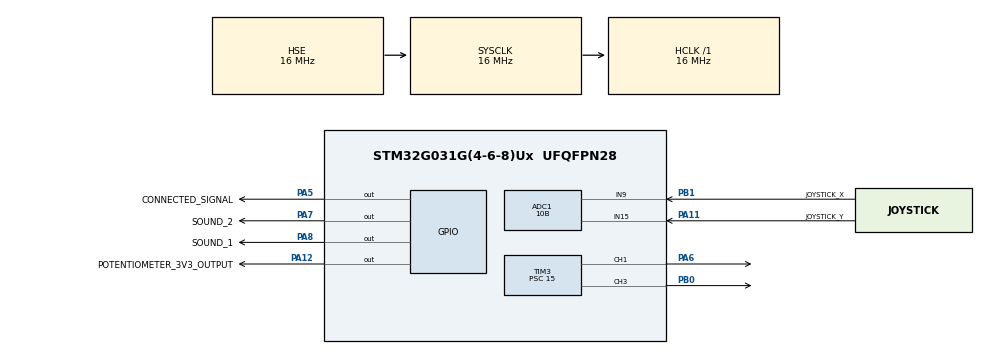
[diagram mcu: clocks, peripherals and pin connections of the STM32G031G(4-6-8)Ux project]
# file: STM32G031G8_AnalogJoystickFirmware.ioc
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ADC1.ContinuousConvMode=ENABLE
ADC1.EOCSelection=ADC_EOC_SEQ_CONV
ADC1.NbrOfConversion=1
ADC1.NbrOfConversionFlag=0
ADC1.Overrun=ADC_OVR_DATA_OVERWRITTEN
ADC1.Resolution=ADC_RESOLUTION_10B
ADC1.SamplingTimeCommon1=ADC_SAMPLETIME_19CYCLES_5
ADC1.SelectedChannel=ADC_CHANNEL_9|ADC_CHANNEL_15
ADC1.Sequencer=NOT_FULLY_CONFIGURABLE
ADC1.master=1
Dma.ADC1.0.Direction=DMA_PERIPH_TO_MEMORY
Dma.ADC1.0.EventEnable=DISABLE
Dma.ADC1.0.Instance=DMA1_Channel1
Dma.ADC1.0.MemDataAlignment=DMA_MDATAALIGN_WORD
Dma.ADC1.0.MemInc=DMA_MINC_ENABLE
Dma.ADC1.0.Mode=DMA_NORMAL
Dma.ADC1.0.PeriphDataAlignment=DMA_PDATAALIGN_WORD
Dma.ADC1.0.PeriphInc=DMA_PINC_DISABLE
Dma.ADC1.0.Polarity=HAL_DMAMUX_REQ_GEN_RISING
Dma.ADC1.0.Priority=DMA_PRIORITY_LOW
Dma.ADC1.0.RequestNumber=1
Dma.ADC1.0.SignalID=NONE
Dma.ADC1.0.SyncEnable=DISABLE
Dma.ADC1.0.SyncPolarity=HAL_DMAMUX_SYNC_NO_EVENT
Dma.ADC1.0.SyncRequestNumber=1
Dma.ADC1.0.SyncSignalID=NONE
Dma.Request0=ADC1
Mcu.Family=STM32G0
Mcu.Name=STM32G031G(4-6-8)Ux
Mcu.Package=UFQFPN28
NVIC.DMA1_Channel1_IRQn=true\:0\:0\:false\:false\:true\:false\:true\:true
PA11\ [PA9].GPIO_Label=JOYSTICK_Y
PA11\ [PA9].Signal=SharedAnalog_PA11
PA12\ [PA10].GPIO_Label=POTENTIOMETER_3V3_OUTPUT
PA12\ [PA10].GPIO_ModeDefaultOutputPP=GPIO_MODE_OUTPUT_PP
PA12\ [PA10].GPIO_PuPd=GPIO_NOPULL
PA12\ [PA10].PinState=GPIO_PIN_SET
PA12\ [PA10].Signal=GPIO_Output
PA13.Mode=Serial_Wire
PA13.Signal=SYS_SWDIO
PA14-BOOT0.Mode=Serial_Wire
PA14-BOOT0.Signal=SYS_SWCLK
PA5.GPIO_Label=CONNECTED_SIGNAL
PA5.GPIO_PuPd=GPIO_NOPULL
PA5.PinState=GPIO_PIN_SET
PA5.Signal=GPIO_Output
PA6.Signal=S_TIM3_CH1
PA7.GPIO_Label=SOUND_2
PA7.Signal=GPIO_Output
PA8.GPIO_Label=SOUND_1
PA8.Signal=GPIO_Output
PB0.Signal=S_TIM3_CH3
PB1.GPIO_Label=JOYSTICK_X
PB1.Signal=SharedAnalog_PB1
PC14-OSC32_IN\ (PC14).Mode=HSE-External-Clock-Source
PC14-OSC32_IN\ (PC14).Signal=RCC_OSC_IN
ProjectManager.HeapSize=0x200
ProjectManager.StackSize=0x400
ProjectManager.TargetToolchain=STM32CubeIDE
RCC.AHBFreq_Value=16000000
RCC.CortexFreq_Value=16000000
RCC.EXTERNAL_CLOCK_VALUE=12288000
RCC.HCLKFreq_Value=16000000
RCC.HSE_VALUE=16000000
RCC.HSI_VALUE=16000000
RCC.LSE_VALUE=32768
RCC.PLLSourceVirtual=RCC_PLLSOURCE_HSE
RCC.SYSCLKFreq_VALUE=16000000
RCC.SYSCLKSource=RCC_SYSCLKSOURCE_HSE
RCC.VCOOutputFreq_Value=128000000
SH.S_TIM3_CH1.0=TIM3_CH1,PWM Generation1 CH1
SH.S_TIM3_CH3.0=TIM3_CH3,PWM Generation3 CH3
SH.SharedAnalog_PA11.0=GPIO_Analog
SH.SharedAnalog_PA11.1=ADC1_IN15,IN15
SH.SharedAnalog_PB1.0=GPIO_Analog
SH.SharedAnalog_PB1.1=ADC1_IN9,IN9
TIM3.Channel-PWM\ Generation1\ CH1=TIM_CHANNEL_1
TIM3.Channel-PWM\ Generation3\ CH3=TIM_CHANNEL_3
TIM3.OCPolarity_1=TIM_OCPOLARITY_HIGH
TIM3.Period=1000
TIM3.Prescaler=15
TIM3.Pulse-PWM\ Generation1\ CH1=500
board=custom

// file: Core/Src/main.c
/* USER CODE BEGIN Header */
/**
  ******************************************************************************
  * @file           : main.c
  * @brief          : Main program body
  ******************************************************************************
  * @attention
  *
  * Copyright (c) 2023 STMicroelectronics.
  * All rights reserved.
  *
  * This software is licensed under terms that can be found in the LICENSE file
  * in the root directory of this software component.
  * If no LICENSE file comes with this software, it is provided AS-IS.
  *
  ******************************************************************************
  */
/* USER CODE END Header */
#include "main.h"

/* USER CODE BEGIN Includes */
#define MIN_SENSOR	0
#define MAX_SENSOR	1023

#define THROTTLE_OFF 500
#define THROTTLE_FORWARD 800
#define THROTTLE_REVERSE 200

#define STEERING_LEFT 200
#define STEERING_RIGHT 800
/* USER CODE END Includes */

ADC_HandleTypeDef hadc1;
DMA_HandleTypeDef hdma_adc1;

TIM_HandleTypeDef htim3;

void SystemClock_Config(void);
static void MX_GPIO_Init(void);
static void MX_DMA_Init(void);
static void MX_TIM3_Init(void);
static void MX_ADC1_Init(void);

/* USER CODE BEGIN 0 */
long map(long x, long in_min, long in_max, long out_min, long out_max) {
  return (x - in_min) * (out_max - out_min) / (in_max - in_min) + out_min;
}
/* USER CODE END 0 */

int main(void)
{
  /* USER CODE BEGIN 1 */
	uint16_t pwmSteering = (STEERING_LEFT + STEERING_RIGHT) / 2;
	uint16_t pwmThrottle = THROTTLE_OFF;
	uint8_t  startupComplete = 0;

	uint32_t sensorData[2];
	uint32_t xData;
	uint32_t yData;
  /* USER CODE END 1 */

  /* MCU Configuration--------------------------------------------------------*/

  /* Reset of all peripherals, Initializes the Flash interface and the Systick. */
  HAL_Init();

  /* Configure the system clock */
  SystemClock_Config();

  /* Initialize all configured peripherals */
  MX_GPIO_Init();
  MX_DMA_Init();
  MX_TIM3_Init();
  MX_ADC1_Init();
  /* USER CODE BEGIN 2 */
  HAL_GPIO_WritePin(SOUND_1_GPIO_Port, SOUND_1_Pin, GPIO_PIN_SET);
  HAL_GPIO_WritePin(SOUND_2_GPIO_Port, SOUND_2_Pin, GPIO_PIN_SET);

  HAL_GPIO_WritePin(POTENTIOMETER_3V3_OUTPUT_GPIO_Port, POTENTIOMETER_3V3_OUTPUT_Pin, GPIO_PIN_SET);

  HAL_TIM_PWM_Start(&htim3, TIM_CHANNEL_1);
  HAL_TIM_PWM_Start(&htim3, TIM_CHANNEL_3);

  HAL_ADC_Start_DMA(&hadc1, sensorData, 2);
  /* USER CODE END 2 */

  /* Infinite loop */
  /* USER CODE BEGIN WHILE */
  while (1)
  {
	  xData = MAX_SENSOR - sensorData[0]; // Reverse reading to make left 0 and right 1023
	  yData = sensorData[1];

	  if (startupComplete)
	  {
		  pwmSteering = map(xData, MIN_SENSOR, MAX_SENSOR, STEERING_LEFT, STEERING_RIGHT);
		  pwmThrottle = map(yData, MIN_SENSOR, MAX_SENSOR, THROTTLE_REVERSE, THROTTLE_FORWARD);
	  }
	  else
	  {
		  pwmSteering = (STEERING_LEFT + STEERING_RIGHT)  / 2;
		  startupComplete = 1;
	  }

	  HAL_ADC_Start_DMA(&hadc1, sensorData, 2);

	__HAL_TIM_SET_COMPARE(&htim3, TIM_CHANNEL_3, pwmSteering);
	__HAL_TIM_SET_COMPARE(&htim3, TIM_CHANNEL_1, pwmThrottle);
    /* USER CODE END WHILE */

  }
}

void SystemClock_Config(void)
{
  RCC_OscInitTypeDef RCC_OscInitStruct = {0};
  RCC_ClkInitTypeDef RCC_ClkInitStruct = {0};

  /** Configure the main internal regulator output voltage
  */
  HAL_PWREx_ControlVoltageScaling(PWR_REGULATOR_VOLTAGE_SCALE1);

  /** Initializes the RCC Oscillators according to the specified parameters
  * in the RCC_OscInitTypeDef structure.
  */
  RCC_OscInitStruct.OscillatorType = RCC_OSCILLATORTYPE_HSE;
  RCC_OscInitStruct.HSEState = RCC_HSE_BYPASS;
  RCC_OscInitStruct.PLL.PLLState = RCC_PLL_NONE;
  if (HAL_RCC_OscConfig(&RCC_OscInitStruct) != HAL_OK)
  {
    Error_Handler();
  }

  /** Initializes the CPU, AHB and APB buses clocks
  */
  RCC_ClkInitStruct.ClockType = RCC_CLOCKTYPE_HCLK|RCC_CLOCKTYPE_SYSCLK
                              |RCC_CLOCKTYPE_PCLK1;
  RCC_ClkInitStruct.SYSCLKSource = RCC_SYSCLKSOURCE_HSE;
  RCC_ClkInitStruct.AHBCLKDivider = RCC_SYSCLK_DIV1;
  RCC_ClkInitStruct.APB1CLKDivider = RCC_HCLK_DIV1;

  if (HAL_RCC_ClockConfig(&RCC_ClkInitStruct, FLASH_LATENCY_0) != HAL_OK)
  {
    Error_Handler();
  }
}

static void MX_ADC1_Init(void)
{

  ADC_ChannelConfTypeDef sConfig = {0};

  /** Configure the global features of the ADC (Clock, Resolution, Data Alignment and number of conversion)
  */
  hadc1.Instance = ADC1;
  hadc1.Init.ClockPrescaler = ADC_CLOCK_SYNC_PCLK_DIV2;
  hadc1.Init.Resolution = ADC_RESOLUTION_10B;
  hadc1.Init.DataAlign = ADC_DATAALIGN_RIGHT;
  hadc1.Init.ScanConvMode = ADC_SCAN_SEQ_FIXED;
  hadc1.Init.EOCSelection = ADC_EOC_SEQ_CONV;
  hadc1.Init.LowPowerAutoWait = DISABLE;
  hadc1.Init.LowPowerAutoPowerOff = DISABLE;
  hadc1.Init.ContinuousConvMode = ENABLE;
  hadc1.Init.NbrOfConversion = 1;
  hadc1.Init.ExternalTrigConv = ADC_SOFTWARE_START;
  hadc1.Init.ExternalTrigConvEdge = ADC_EXTERNALTRIGCONVEDGE_NONE;
  hadc1.Init.DMAContinuousRequests = DISABLE;
  hadc1.Init.Overrun = ADC_OVR_DATA_OVERWRITTEN;
  hadc1.Init.SamplingTimeCommon1 = ADC_SAMPLETIME_19CYCLES_5;
  hadc1.Init.OversamplingMode = DISABLE;
  hadc1.Init.TriggerFrequencyMode = ADC_TRIGGER_FREQ_HIGH;
  if (HAL_ADC_Init(&hadc1) != HAL_OK)
  {
    Error_Handler();
  }

  /** Configure Regular Channel
  */
  sConfig.Channel = ADC_CHANNEL_9;
  sConfig.Rank = ADC_RANK_CHANNEL_NUMBER;
  if (HAL_ADC_ConfigChannel(&hadc1, &sConfig) != HAL_OK)
  {
    Error_Handler();
  }

  /** Configure Regular Channel
  */
  sConfig.Channel = ADC_CHANNEL_15;
  if (HAL_ADC_ConfigChannel(&hadc1, &sConfig) != HAL_OK)
  {
    Error_Handler();
  }

}

static void MX_TIM3_Init(void)
{

  TIM_MasterConfigTypeDef sMasterConfig = {0};
  TIM_OC_InitTypeDef sConfigOC = {0};

  htim3.Instance = TIM3;
  htim3.Init.Prescaler = 15;
  htim3.Init.CounterMode = TIM_COUNTERMODE_UP;
  htim3.Init.Period = 1000;
  htim3.Init.ClockDivision = TIM_CLOCKDIVISION_DIV1;
  htim3.Init.AutoReloadPreload = TIM_AUTORELOAD_PRELOAD_DISABLE;
  if (HAL_TIM_PWM_Init(&htim3) != HAL_OK)
  {
    Error_Handler();
  }
  sMasterConfig.MasterOutputTrigger = TIM_TRGO_RESET;
  sMasterConfig.MasterSlaveMode = TIM_MASTERSLAVEMODE_DISABLE;
  if (HAL_TIMEx_MasterConfigSynchronization(&htim3, &sMasterConfig) != HAL_OK)
  {
    Error_Handler();
  }
  sConfigOC.OCMode = TIM_OCMODE_PWM1;
  sConfigOC.Pulse = 500;
  sConfigOC.OCPolarity = TIM_OCPOLARITY_HIGH;
  sConfigOC.OCFastMode = TIM_OCFAST_DISABLE;
  if (HAL_TIM_PWM_ConfigChannel(&htim3, &sConfigOC, TIM_CHANNEL_1) != HAL_OK)
  {
    Error_Handler();
  }
  sConfigOC.Pulse = 0;
  if (HAL_TIM_PWM_ConfigChannel(&htim3, &sConfigOC, TIM_CHANNEL_3) != HAL_OK)
  {
    Error_Handler();
  }
  HAL_TIM_MspPostInit(&htim3);

}

static void MX_DMA_Init(void)
{

  /* DMA controller clock enable */
  __HAL_RCC_DMA1_CLK_ENABLE();

  /* DMA interrupt init */
  /* DMA1_Channel1_IRQn interrupt configuration */
  HAL_NVIC_SetPriority(DMA1_Channel1_IRQn, 0, 0);
  HAL_NVIC_EnableIRQ(DMA1_Channel1_IRQn);

}

static void MX_GPIO_Init(void)
{
  GPIO_InitTypeDef GPIO_InitStruct = {0};

  /* GPIO Ports Clock Enable */
  __HAL_RCC_GPIOC_CLK_ENABLE();
  __HAL_RCC_GPIOA_CLK_ENABLE();
  __HAL_RCC_GPIOB_CLK_ENABLE();

  /*Configure GPIO pin Output Level */
  HAL_GPIO_WritePin(GPIOA, CONNECTED_SIGNAL_Pin|POTENTIOMETER_3V3_OUTPUT_Pin, GPIO_PIN_SET);

  /*Configure GPIO pin Output Level */
  HAL_GPIO_WritePin(GPIOA, SOUND_2_Pin|SOUND_1_Pin, GPIO_PIN_RESET);

  /*Configure GPIO pins : CONNECTED_SIGNAL_Pin SOUND_2_Pin SOUND_1_Pin POTENTIOMETER_3V3_OUTPUT_Pin */
  GPIO_InitStruct.Pin = CONNECTED_SIGNAL_Pin|SOUND_2_Pin|SOUND_1_Pin|POTENTIOMETER_3V3_OUTPUT_Pin;
  GPIO_InitStruct.Mode = GPIO_MODE_OUTPUT_PP;
  GPIO_InitStruct.Pull = GPIO_NOPULL;
  GPIO_InitStruct.Speed = GPIO_SPEED_FREQ_LOW;
  HAL_GPIO_Init(GPIOA, &GPIO_InitStruct);

}

void Error_Handler(void)
{
  __disable_irq();
  while (1)
  {
  }
}
